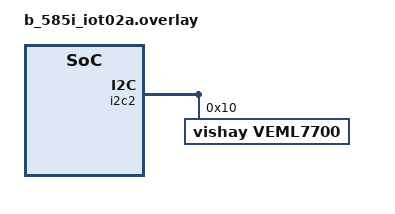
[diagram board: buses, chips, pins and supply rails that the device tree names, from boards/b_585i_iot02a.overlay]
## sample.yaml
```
sample:
  name: veml7700 ambient light sensor
common:
  harness: console
  integration_platforms:
    - b_u585i_iot02a
  filter: dt_compat_enabled("vishay,veml7700")
  tags: sensors
  depends_on:
    - i2c
    - veml7700
  harness_config:
    type: multi_line
    ordered: true
    regex:
      - "Observation:(.*)"
tests:
  sample.sensor.hts221:
    extra_configs:
  sample.sensor.hts221.trigger:
    extra_configs:
    platform_exclude:
      - b_u585i_iot02a
```

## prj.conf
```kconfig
CONFIG_I2C=y
CONFIG_SENSOR=y
CONFIG_VEML7700=y
CONFIG_CBPRINTF_FP_SUPPORT=y
```

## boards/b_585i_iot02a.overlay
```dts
&i2c2{
	veml7700:veml7700@10 {
		compatible ="vishay,veml7700";
		reg = <0x10>;
	};
};
```

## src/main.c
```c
/*
 * Copyright (c) 2024 GOLLA MANOJ KUMAR
 *
 * SPDX-License-Identifier: Apache-2.0
 */

#include <zephyr/kernel.h>
#include <zephyr/device.h>
#include <zephyr/drivers/sensor.h>

static struct sensor_value fid; 

static void fetching_device_details(const struct device *dev)
{
	int ret;
	static int count=0;
	
	ret = sensor_sample_fetch(dev);
	if (ret < 0) {
		printk("Sample Fetch Error %d\n", ret);
		return;
	}

	if(sensor_channel_get(dev, SENSOR_CHAN_LIGHT, &fid) < 0) {
		printk("Channel Get Error %d\n", ret);
		return;
	}
	++count;
	printk("Ambient Light Sensor Data: %.1f\n", sensor_value_to_double(&fid));
	printk("count:%d\n",count);
}

int main(void)
{

	const struct device *i2c_dev = DEVICE_DT_GET_ONE(vishay_veml7700);
	if (!i2c_dev) {
		printk("sensor: device not ready.\n");
		return 0;
	}

	while(1){
		fetching_device_details(i2c_dev);
		k_msleep(1000);
		}
	return 0;
}
```
